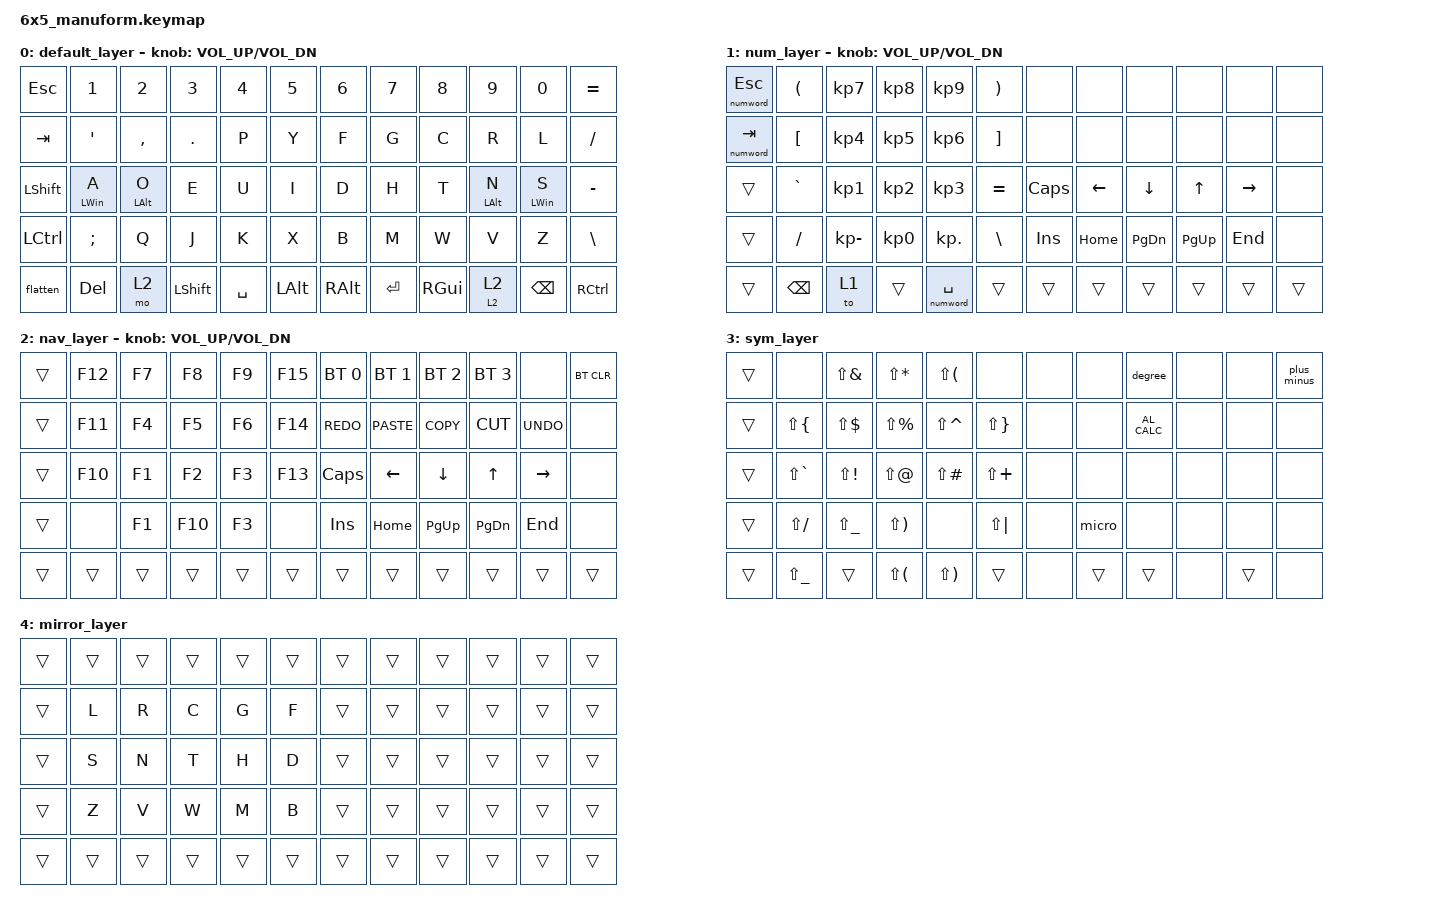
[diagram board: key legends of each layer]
/*
 * Copyright (c) 2020 The ZMK Contributors
 *
 * SPDX-License-Identifier: MIT
 */

#include <behaviors.dtsi>
#include <dt-bindings/zmk/bt.h>
#include <dt-bindings/zmk/keys.h>

&lt { quick-tap-ms = <190>; };

&sk { quick-release; };

/ {
    behaviors {
        sticky_hold: sticky_hold {
            compatible = "zmk,behavior-hold-tap";
            label = "Sticky on tap, hold on hold";
            bindings = <&mo>, <&sl>;

            #binding-cells = <2>;
            flavor = "balanced";
            tapping-term-ms = <200>;
        };

        shiftmorph: shiftmorph {
            compatible = "zmk,behavior-mod-morph";
            label = "Tap to hold shift, shift-tap to CAPSWORD";
            bindings = <&sk LEFT_SHIFT>, <&caps_word>;

            #binding-cells = <0>;
            mods = <(MOD_LSFT)>;
        };

        flatten: flatten {
            compatible = "zmk,behavior-tap-dance";
            label = "Return to base layer on tap dance";
            #binding-cells = <0>;
            bindings = <&to 1>, <&to 0>;
        };

        hrl: hrl {
            compatible = "zmk,behavior-hold-tap";
            label = "Timeless Homerow Keys (Left)";
            bindings = <&kp>, <&kp>;

            #binding-cells = <2>;
            tapping-term-ms = <280>;
            quick-tap-ms = <175>;
            require-prior-idle-ms = <150>;
            flavor = "balanced";
            hold-trigger-key-positions = <6 7 8 9 10 11 18 19 20 21 22 23 30 31 32 33 34 35 42 43 44 45 46 47 54 55 56 57 58 59 48 49 50 51 52 53>;
            hold-trigger-on-release;
        };

        hrr: hrr {
            compatible = "zmk,behavior-hold-tap";
            label = "Timeless Homerow Keys (Right)";
            bindings = <&kp>, <&kp>;

            #binding-cells = <2>;
            tapping-term-ms = <280>;
            quick-tap-ms = <175>;
            require-prior-idle-ms = <150>;
            flavor = "balanced";
            hold-trigger-key-positions = <0 1 2 3 4 5 12 13 14 15 16 17 24 25 26 27 28 29 36 37 38 39 40 41 48 49 50 51 52 53 54 55 56 57 58 59>;
            hold-trigger-on-release;
        };
    };

    macros {
        pwd: pwd {
            compatible = "zmk,behavior-macro";
            #binding-cells = <0>;
            bindings = <&kp N7 &kp N6 &kp F &kp D &kp STAR &kp AMPS &kp LS(G) &kp LS(H) &kp N9 &kp N8 &kp C &kp T>;
            label = "PWD";
        };

        plus_minus: plus_minus {
            compatible = "zmk,behavior-macro";
            #binding-cells = <0>;
            bindings =
                <&macro_press>,
                <&kp LEFT_ALT>,
                <&macro_tap>,
                <&kp KP_NUMBER_0 &kp KP_NUMBER_1 &kp KP_NUMBER_7 &kp KP_NUMBER_7>,
                <&macro_release>,
                <&kp LEFT_ALT>;

            label = "PLUS_MINUS";
        };

        degree: degree {
            compatible = "zmk,behavior-macro";
            #binding-cells = <0>;
            bindings =
                <&macro_press>,
                <&kp LEFT_ALT>,
                <&macro_tap>,
                <&kp KP_NUMBER_0 &kp KP_NUMBER_1 &kp KP_NUMBER_7 &kp KP_NUMBER_6>,
                <&macro_release>,
                <&kp LEFT_ALT>;

            label = "DEGREE";
        };

        numword: numword {
            compatible = "zmk,behavior-macro-one-param";
            #binding-cells = <1>;
            bindings = <&to 0 &macro_param_1to1 &kp MACRO_PLACEHOLDER>;
            label = "NUMWORD";
        };

        micro: micro {
            compatible = "zmk,behavior-macro";
            #binding-cells = <0>;
            bindings =
                <&macro_press>,
                <&kp LEFT_ALT>,
                <&macro_tap>,
                <&kp KP_NUMBER_0 &kp KP_NUMBER_1 &kp KP_NUMBER_8 &kp KP_NUMBER_1>,
                <&macro_release>,
                <&kp LEFT_ALT>;

            label = "MICRO";
        };

        commaspace: commaspace {
            compatible = "zmk,behavior-macro";
            #binding-cells = <0>;
            bindings = <&kp COMMA &kp SPACE>;
            label = "COMMASPACE";
        };
    };

    combos {
        compatible = "zmk,combos";

        escape {
            bindings = <&kp ESCAPE>;
            key-positions = <14 15>;
            layers = <0 2 3 4>;
            require-prior-idle-ms = <150>;
        };

        enter {
            bindings = <&kp ENTER>;
            key-positions = <15 16>;
            layers = <0 2 3 4>;
            require-prior-idle-ms = <150>;
        };

        copy {
            bindings = <&kp LC(C)>;
            key-positions = <38 39>;
        };

        paste {
            bindings = <&kp LC(V)>;
            key-positions = <39 40>;
            require-prior-idle-ms = <150>;
        };

        backspace {
            bindings = <&kp BACKSPACE>;
            key-positions = <16 17>;
            require-prior-idle-ms = <150>;
        };

        delete {
            bindings = <&kp DELETE>;
            key-positions = <40 41>;
        };

        pwdshortcut {
            bindings = <&kp LC(SEMI)>;
            key-positions = <37 38>;
        };

        nwenter {
            bindings = <&numword ENTER>;
            key-positions = <15 16>;
            layers = <1>;
            require-prior-idle-ms = <150>;
        };

        npenter {
            bindings = <&kp KP_ENTER>;
            key-positions = <28 40>;
            require-prior-idle-ms = <150>;
        };

        ctrl-a {
            bindings = <&kp LC(A)>;
            key-positions = <25 24>;
            require-prior-idle-ms = <150>;
        };

        alt-o {
            bindings = <&none>;
            key-positions = <25 26>;
            require-prior-idle-ms = <150>;
        };

        sym {
            bindings = <&sl 3>;
            key-positions = <36 24>;
            require-prior-idle-ms = <150>;
        };

        comma {
            bindings = <&commaspace>;
            key-positions = <14 26>;
            require-prior-idle-ms = <150>;
        };

        cut {
            bindings = <&kp LC(X)>;
            key-positions = <38 40>;
            require-prior-idle-ms = <150>;
        };
    };

    keymap {
        compatible = "zmk,keymap";

        default_layer {
            // ------------------------------------------------------------------------------------------------------------
            // |  ESC   |  1  |  2  |  3   |  4   |  5   |                    |  6   |  7    |  8    |  9   |   0   |   `   |
            // |  TAB   |  Q  |  W  |  E   |  R   |  T   |                    |  Y   |  U    |  I    |  O   |   P   |   -   |
            // |  CTRL  |  A  |  S  |  D   |  F   |  G   |                    |  H   |  J    |  K    |  L   |   ;   |   '   |
            // | SHIFT  |  Z  |  X  |  C   |  V   |  B   |                    |  N   |  M    |  ,    |  .   |   /   | SHIFT |
            // |    2   |  2  | f   | 6    | 4    | 1    |                    | 2    | 1     | w     | s    | n     |  a    |

            bindings = <
&kp ESCAPE      &kp N1           &kp N2           &kp N3     &kp N4     &kp N5    &kp N6    &kp N7     &kp N8    &kp N9            &kp N0         &kp EQUAL
&kp TAB         &kp SQT          &kp COMMA        &kp DOT    &kp P      &kp Y     &kp F     &kp G      &kp C     &kp R             &kp L          &kp FSLH
&kp LEFT_SHIFT  &hrl LEFT_WIN A  &hrl LEFT_ALT O  &kp E      &kp U      &kp I     &kp D     &kp H      &kp T     &hrr LALT N       &hrr LWIN S    &kp MINUS
&kp LCTRL       &kp SEMI         &kp Q            &kp J      &kp K      &kp X     &kp B     &kp M      &kp W     &kp V             &kp Z          &kp BSLH
&flatten        &kp DELETE       &mo 2            &kp LSHFT  &kp SPACE  &kp LALT  &kp RALT  &kp ENTER  &kp RGUI  &sticky_hold 2 2  &kp BACKSPACE  &kp RCTRL
            >;

            sensor-bindings = <&inc_dec_kp C_VOL_UP C_VOL_DN>;
        };

        num_layer {
            // ------------------------------------------------------------------------------------------------------------
            // |       |     |     |      |      |      |                   |      |       |       |      |       |       |
            // |   `   |  1  |  2  |  3   |  4   |  5   |                   |  6   |   7   |   8   |  9   |   0   |       |
            // |   F1  |  F2 |  F3 |  F4  |  F5  |  F6  |                   |      |   <-  |   v   |  ^   |  ->   |       |
            // |   F7  |  F8 |  F9 |  F10 |  F11 |  F12 |		             |  +   |   -   |   =   |  [   |   ]   |   \   |
            // |     |     |      |      |      |        |                   |       |      |       |       |      |       |

            bindings = <
&numword ESCAPE  &kp LEFT_PARENTHESIS  &kp KP_N7     &kp KP_N8  &kp KP_N9       &kp RIGHT_PARENTHESIS  &none     &none     &none           &none         &none      &none
&numword TAB     &kp LBKT              &kp KP_N4     &kp KP_N5  &kp KP_N6       &kp RBKT               &none     &none     &none           &none         &none      &none
&trans           &kp GRAVE             &kp KP_N1     &kp KP_N2  &kp KP_N3       &kp EQUAL              &kp CAPS  &kp LEFT  &kp DOWN_ARROW  &kp UP_ARROW  &kp RIGHT  &none
&trans           &kp SLASH             &kp KP_MINUS  &kp KP_N0  &kp KP_DOT      &kp BSLH               &kp INS   &kp HOME  &kp PG_DN       &kp PG_UP     &kp END    &none
&trans           &kp BACKSPACE         &to 1         &trans     &numword SPACE  &trans                 &trans    &trans    &trans          &trans        &trans     &trans
            >;

            sensor-bindings = <&inc_dec_kp C_VOL_UP C_VOL_DN>;
        };

        nav_layer {
            // ------------------------------------------------------------------------------------------------------------
            // | BTCLR | BT1 | BT2 |  BT3 |  BT4 |  BT5 |                   |      |       |       |      |       |       |
            // |  F1   |  F2 |  F3 |  F4  |  F5  |  F6  |                   |  F7  |  F8   |  F9   |  F10 |  F11  |  F12  |
            // |   `   |  !  |  @  |  #   |  $   |  %   |                   |  ^   |  &    |  *    |  (   |   )   |   ~   |
            // |       |     |     |      |      |      |                   |      |  _    |  +    |  {   |   }   |  "|"  |
            // |       |     |     |      |      |      |                   |      |       |       |      |       |       |

            bindings = <
&trans  &kp F12  &kp F7  &kp F8   &kp F9  &kp F15  &bt BT_SEL 0  &bt BT_SEL 1  &bt BT_SEL 2  &bt BT_SEL 3  &none       &bt BT_CLR
&trans  &kp F11  &kp F4  &kp F5   &kp F6  &kp F14  &kp K_REDO    &kp K_PASTE   &kp K_COPY    &kp K_CUT     &kp K_UNDO  &none
&trans  &kp F10  &kp F1  &kp F2   &kp F3  &kp F13  &kp CAPS      &kp LEFT      &kp DOWN      &kp UP        &kp RIGHT   &none
&trans  &none    &kp F1  &kp F10  &kp F3  &none    &kp INS       &kp HOME      &kp PG_UP     &kp PG_DN     &kp END     &none
&trans  &trans   &trans  &trans   &trans  &trans   &trans        &trans        &trans        &trans        &trans      &trans
            >;

            sensor-bindings = <&inc_dec_kp C_VOL_UP C_VOL_DN>;
        };

        sym_layer {
            bindings = <
&trans  &none          &kp LS(AMPS)   &kp LS(STAR)   &kp LS(LPAR)   &none         &none  &none   &degree        &none  &none   &plus_minus
&trans  &kp LS(LBRC)   &kp LS(DLLR)   &kp LS(PRCNT)  &kp LS(CARET)  &kp LS(RBRC)  &none  &none   &kp C_AL_CALC  &none  &none   &none
&trans  &kp LS(GRAVE)  &kp LS(EXCL)   &kp LS(AT)     &kp LS(POUND)  &kp LS(PLUS)  &none  &none   &none          &none  &none   &none
&trans  &kp LS(SLASH)  &kp LS(UNDER)  &kp LS(RPAR)   &none          &kp LS(PIPE)  &none  &micro  &none          &none  &none   &none
&trans  &kp LS(UNDER)  &trans         &kp LS(LPAR)   &kp LS(RPAR)   &trans        &none  &trans  &trans         &none  &trans  &none
            >;
        };

        mirror_layer {
            bindings = <
&trans  &trans  &trans  &trans  &trans  &trans  &trans  &trans  &trans  &trans  &trans  &trans
&trans  &kp L   &kp R   &kp C   &kp G   &kp F   &trans  &trans  &trans  &trans  &trans  &trans
&trans  &kp S   &kp N   &kp T   &kp H   &kp D   &trans  &trans  &trans  &trans  &trans  &trans
&trans  &kp Z   &kp V   &kp W   &kp M   &kp B   &trans  &trans  &trans  &trans  &trans  &trans
&trans  &trans  &trans  &trans  &trans  &trans  &trans  &trans  &trans  &trans  &trans  &trans
            >;
        };
    };
};
